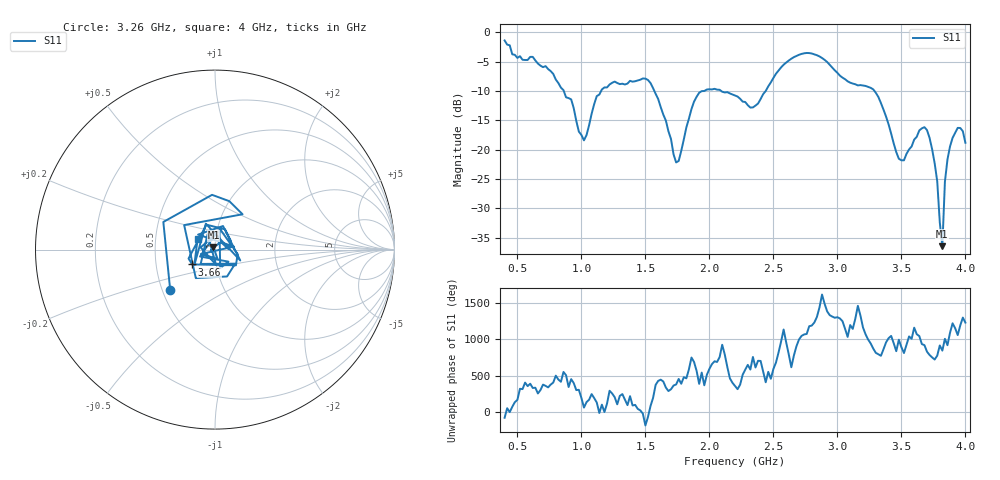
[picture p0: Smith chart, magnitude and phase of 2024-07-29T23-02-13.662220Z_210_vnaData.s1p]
!Created with skrf (http://scikit-rf.org).
# Hz S RI R 50.0
!freq ReS11 ImS11
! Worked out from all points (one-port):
!   181 points, 400 MHz to 4 GHz, reference 50 ohm
!   lowest |S11| = -36.5 dB at 3.82 GHz (marker M1), VSWR 1.03, Z = 49.2 + j1.23 ohm
!   |S11| at or under -10 dB: 1.57 GHz to 1.96 GHz (389.5 MHz wide, 22.1 % of centre); 2.092 GHz to 2.44 GHz (347.7 MHz wide, 15.3 % of centre); 3.29 GHz to end of sweep (the widest 3 of 4)
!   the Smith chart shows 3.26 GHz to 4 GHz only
!   S11 on the Smith chart (normalised r, x): 3.26 GHz: 0.55, -0.28; 3.66 GHz: 0.76, -0.13; 4 GHz: 0.82, +0.10
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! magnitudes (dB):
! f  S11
! 400 MHz  -1.4
! 860 MHz  -9.9
! 920 MHz  -11.4
! 1.02 GHz  -18.4
! 1.12 GHz  -10.9
! 1.3 GHz  -8.8
! 1.54 GHz  -8.6
! 1.76 GHz  -21.9
! 1.86 GHz  -13.1
! 1.92 GHz  -10.3
! 2.2 GHz  -10.8
! 2.34 GHz  -12.8
! 2.66 GHz  -4.2
! 2.84 GHz  -3.9
! 3.1 GHz  -8.6
! 3.26 GHz  -9.5
! 3.34 GHz  -12.1
! 3.48 GHz  -21.6
! 3.56 GHz  -20.0
! 3.66 GHz  -16.4
! 3.7 GHz  -16.7
! 3.76 GHz  -22.3
! 3.78 GHz  -25.4
! 3.82 GHz  -36.5
! 3.84 GHz  -25.5
! 3.88 GHz  -19.5
! 3.94 GHz  -16.3
! 4 GHz  -18.8
